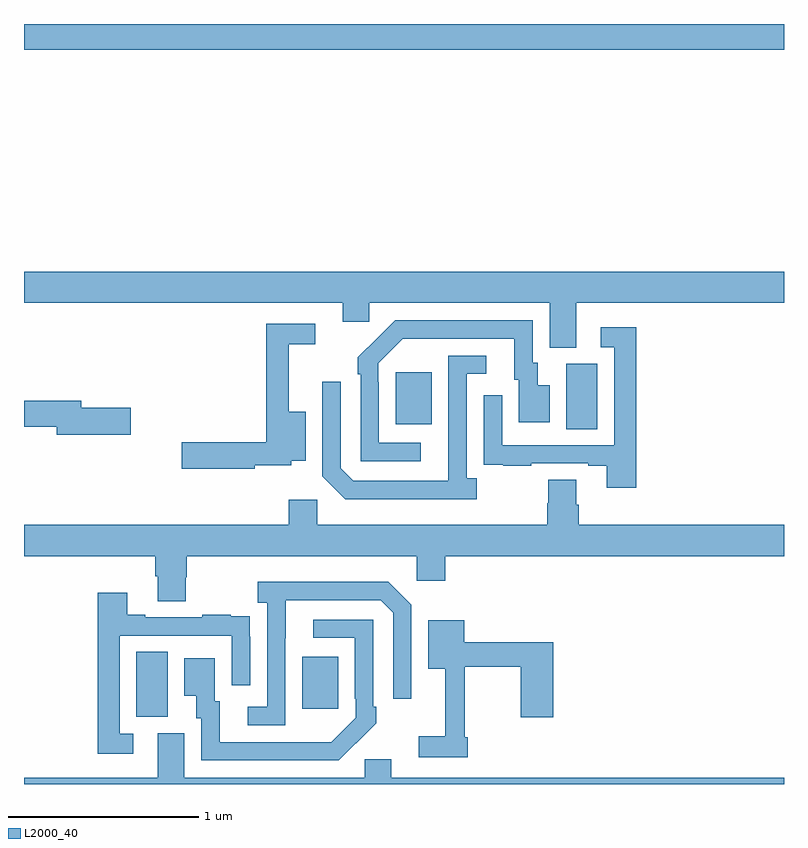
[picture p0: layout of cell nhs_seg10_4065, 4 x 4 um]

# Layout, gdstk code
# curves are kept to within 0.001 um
import gdstk
lib = gdstk.Library(unit=1e-6, precision=1e-09)
def R(c, l, rs):  # rectangles x0, y0, x1, y1
    for r in rs: c.add(gdstk.rectangle(r[:2], r[2:], *l))
def P(c, l, *ps):  # polygons
    for p in ps: c.add(gdstk.Polygon(p, *l))
L2000_40 = (2000, 40)

nhs_seg10_4065 = lib.new_cell('nhs_seg10_4065')
R(nhs_seg10_4065, L2000_40, [(337.592,1248.853,337.756,1249.196), (338.465,1248.897,338.653,1249.171), (339.854,1250.368,340.018,1250.712), (338.957,1250.393,339.145,1250.668), (337,1252.364,341,1252.5)])
P(nhs_seg10_4065, L2000_40, [(339.907,1251.032),(341,1251.032),(341,1251.196),(337,1251.196),(337,1251.032),(338.678,1251.032),(338.678,1250.934),(338.817,1250.934),(338.817,1251.032),(339.767,1251.032),(339.767,1250.797),(339.907,1250.797)],
  [(339.088,1250.295),(338.868,1250.295),(338.868,1250.615),(338.865,1250.615),(338.865,1250.715),(338.994,1250.844),(339.581,1250.844),(339.581,1250.628),(339.605,1250.628),(339.605,1250.403),(339.766,1250.403),(339.766,1250.599),(339.703,1250.599),(339.703,1250.718),(339.678,1250.718),(339.678,1250.94),(338.954,1250.94),(338.757,1250.745),(338.757,1250.657),(338.772,1250.657),(338.772,1250.199),(339.088,1250.199)],
  [(338.214,1250.177),(338.406,1250.177),(338.406,1250.201),(338.482,1250.201),(338.482,1250.458),(338.393,1250.458),(338.393,1250.814),(338.533,1250.814),(338.533,1250.922),(338.275,1250.922),(338.275,1250.3),(337.83,1250.3),(337.83,1250.158),(338.214,1250.158)],
  [(340.223,1250.905),(340.035,1250.905),(340.035,1250.799),(340.107,1250.799),(340.107,1250.283),(339.516,1250.283),(339.516,1250.545),(339.42,1250.545),(339.42,1250.29),(339.421,1250.29),(339.421,1250.181),(339.523,1250.181),(339.523,1250.175),(339.671,1250.175),(339.671,1250.187),(339.971,1250.187),(339.971,1250.175),(340.067,1250.175),(340.067,1250.058),(340.223,1250.058)],
  [(339.382,1250.11),(339.33,1250.11),(339.33,1250.658),(339.433,1250.658),(339.433,1250.754),(339.234,1250.754),(339.233,1250.097),(338.733,1250.097),(338.667,1250.163),(338.667,1250.617),(338.571,1250.617),(338.571,1250.121),(338.692,1250),(339.382,1250)],
  [(337.561,1250.48),(337.3,1250.48),(337.3,1250.516),(337,1250.516),(337,1250.38),(337.172,1250.38),(337.172,1250.338),(337.561,1250.338)],
  [(337.851,1249.587),(337.856,1249.587),(337.856,1249.7),(339.066,1249.7),(339.066,1249.569),(339.218,1249.569),(339.218,1249.7),(341,1249.7),(341,1249.864),(339.92,1249.864),(339.92,1249.97),(339.907,1249.97),(339.907,1250.102),(339.76,1250.102),(339.76,1249.977),(339.755,1249.977),(339.755,1249.864),(338.544,1249.864),(338.544,1249.996),(338.393,1249.996),(338.393,1249.864),(337,1249.864),(337,1249.7),(337.691,1249.7),(337.691,1249.594),(337.703,1249.594),(337.703,1249.462),(337.851,1249.462)],
  [(338.376,1249.267),(338.377,1249.467),(338.877,1249.467),(338.943,1249.401),(338.943,1248.948),(339.039,1248.948),(339.039,1249.443),(338.918,1249.564),(338.229,1249.564),(338.229,1249.454),(338.28,1249.454),(338.28,1248.906),(338.178,1248.906),(338.178,1248.81),(338.376,1248.81)],
  [(337.576,1248.765),(337.503,1248.765),(337.503,1249.281),(338.094,1249.281),(338.094,1249.02),(338.19,1249.02),(338.19,1249.274),(338.189,1249.274),(338.189,1249.383),(338.087,1249.383),(338.087,1249.39),(337.939,1249.39),(337.939,1249.377),(337.639,1249.377),(337.639,1249.39),(337.543,1249.39),(337.543,1249.507),(337.387,1249.507),(337.387,1248.66),(337.576,1248.66)],
  [(338.747,1248.715),(338.748,1248.714),(338.853,1248.819),(338.853,1248.907),(338.838,1248.907),(338.838,1249.365),(338.523,1249.365),(338.523,1249.269),(338.742,1249.269),(338.742,1248.949),(338.745,1248.949),(338.745,1248.849),(338.617,1248.721),(338.029,1248.72),(338.029,1248.936),(338.005,1248.936),(338.005,1249.162),(337.844,1249.162),(337.844,1248.965),(337.907,1248.965),(337.907,1248.846),(337.932,1248.846),(337.932,1248.624),(338.656,1248.624)],
  [(339.335,1248.745),(339.32,1248.745),(339.32,1249.117),(339.614,1249.117),(339.614,1248.852),(339.785,1248.852),(339.785,1249.246),(339.316,1249.246),(339.316,1249.363),(339.128,1249.363),(339.128,1249.106),(339.218,1249.106),(339.218,1248.751),(339.078,1248.751),(339.078,1248.642),(339.335,1248.642)],
  [(341,1248.532),(338.932,1248.532),(338.932,1248.63),(338.793,1248.63),(338.793,1248.532),(337.843,1248.532),(337.843,1248.768),(337.703,1248.768),(337.703,1248.532),(337,1248.532),(337,1248.5),(341,1248.5)])

lib.write_gds('nhs_seg10_4065.gds')
